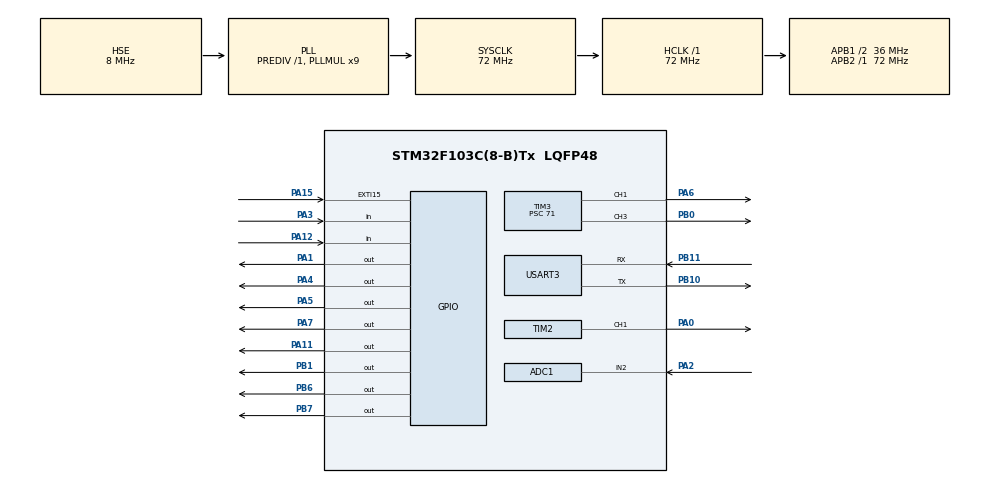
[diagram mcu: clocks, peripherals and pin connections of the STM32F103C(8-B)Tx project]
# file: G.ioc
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ADC1.Channel-2\#ChannelRegularConversion=ADC_CHANNEL_2
ADC1.DiscontinuousConvMode=DISABLE
ADC1.NbrOfConversion=1
ADC1.NbrOfConversionFlag=1
ADC1.Rank-2\#ChannelRegularConversion=1
ADC1.SamplingTime-2\#ChannelRegularConversion=ADC_SAMPLETIME_239CYCLES_5
ADC1.master=1
Mcu.Family=STM32F1
Mcu.Name=STM32F103C(8-B)Tx
Mcu.Package=LQFP48
NVIC.PriorityGroup=NVIC_PRIORITYGROUP_4
NVIC.USART3_IRQn=true\:0\:0\:false\:false\:true\:true\:true\:true
PA0-WKUP.Signal=S_TIM2_CH1_ETR
PA1.Signal=GPIO_Output
PA11.Signal=GPIO_Output
PA12.Signal=GPIO_Input
PA13.Mode=Serial_Wire
PA13.Signal=SYS_JTMS-SWDIO
PA14.Mode=Serial_Wire
PA14.Signal=SYS_JTCK-SWCLK
PA15.Signal=GPXTI15
PA2.Signal=ADCx_IN2
PA3.Signal=GPIO_Input
PA4.GPIO_PuPd=GPIO_PULLUP
PA4.GPIO_Speed=GPIO_SPEED_FREQ_HIGH
PA4.PinState=GPIO_PIN_SET
PA4.Signal=GPIO_Output
PA5.GPIO_PuPd=GPIO_PULLDOWN
PA5.GPIO_Speed=GPIO_SPEED_FREQ_HIGH
PA5.Signal=GPIO_Output
PA6.Signal=S_TIM3_CH1
PA7.GPIO_PuPd=GPIO_PULLUP
PA7.GPIO_Speed=GPIO_SPEED_FREQ_HIGH
PA7.PinState=GPIO_PIN_SET
PA7.Signal=GPIO_Output
PB0.Signal=S_TIM3_CH3
PB1.GPIO_PuPd=GPIO_PULLUP
PB1.PinState=GPIO_PIN_SET
PB1.Signal=GPIO_Output
PB10.Mode=Asynchronous
PB10.Signal=USART3_TX
PB11.Mode=Asynchronous
PB11.Signal=USART3_RX
PB6.Signal=GPIO_Output
PB7.Signal=GPIO_Output
PD0-OSC_IN.Mode=HSE-External-Oscillator
PD0-OSC_IN.Signal=RCC_OSC_IN
PD1-OSC_OUT.Mode=HSE-External-Oscillator
PD1-OSC_OUT.Signal=RCC_OSC_OUT
ProjectManager.HeapSize=0x200
ProjectManager.StackSize=0x400
ProjectManager.TargetToolchain=MDK-ARM V5.32
RCC.ADCPresc=RCC_ADCPCLK2_DIV6
RCC.AHBFreq_Value=72000000
RCC.APB1CLKDivider=RCC_HCLK_DIV2
RCC.APB1Freq_Value=36000000
RCC.APB1TimFreq_Value=72000000
RCC.APB2Freq_Value=72000000
RCC.APB2TimFreq_Value=72000000
RCC.HCLKFreq_Value=72000000
RCC.PLLMUL=RCC_PLL_MUL9
RCC.PLLSourceVirtual=RCC_PLLSOURCE_HSE
RCC.SYSCLKFreq_VALUE=72000000
RCC.SYSCLKSource=RCC_SYSCLKSOURCE_PLLCLK
RCC.USBFreq_Value=72000000
SH.ADCx_IN2.0=ADC1_IN2,IN2
SH.S_TIM2_CH1_ETR.0=TIM2_CH1,PWM Generation1 CH1
SH.S_TIM3_CH1.0=TIM3_CH1,PWM Generation1 CH1
SH.S_TIM3_CH3.0=TIM3_CH3,PWM Generation3 CH3
TIM2.AutoReloadPreload=TIM_AUTORELOAD_PRELOAD_ENABLE
TIM2.Channel-PWM\ Generation1\ CH1=TIM_CHANNEL_1
TIM2.Period=999
TIM2.Prescaler=71
TIM2.Pulse-PWM\ Generation1\ CH1=499
TIM3.AutoReloadPreload=TIM_AUTORELOAD_PRELOAD_ENABLE
TIM3.Channel-PWM\ Generation1\ CH1=TIM_CHANNEL_1
TIM3.Channel-PWM\ Generation3\ CH3=TIM_CHANNEL_3
TIM3.Period=19999
TIM3.Prescaler=71
TIM3.Pulse-PWM\ Generation1\ CH1=440
TIM3.Pulse-PWM\ Generation3\ CH3=9999
USART3.VirtualMode=VM_ASYNC
VP_TIM2_VS_ClockSourceINT.Mode=Internal
VP_TIM3_VS_ClockSourceINT.Mode=Internal
board=custom

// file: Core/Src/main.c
/* USER CODE BEGIN Header */
/**
  ******************************************************************************
  * @file           : main.c
  * @brief          : Main program body
  ******************************************************************************
  * @attention
  *
  * Copyright (c) 2025 STMicroelectronics.
  * All rights reserved.
  *
  * This software is licensed under terms that can be found in the LICENSE file
  * in the root directory of this software component.
  * If no LICENSE file comes with this software, it is provided AS-IS.
  *
  ******************************************************************************
  */
/* USER CODE END Header */
#include "main.h"
#include "adc.h"
#include "tim.h"
#include "usart.h"
#include "gpio.h"

/* USER CODE BEGIN Includes */
#include "stdio.h"
#include "string.h"
#include "dht11.h"
#include "esp-01s.h"
#include "oled.h"
#include "sg90.h"
/* USER CODE END Includes */

/* USER CODE BEGIN PM */
int temp_last = 0;
uint8_t oled[100] = {0};
uint8_t data[100] = {0};
uint8_t page = 0;
uint8_t key = 0;
uint8_t key1 = 0;
uint8_t key2 = 0;
extern unsigned int rec_data[4];
extern uint8_t yanwu;
//烟雾报警参数
uint8_t yanwu_max = 50;
//温度报警参数
uint8_t temp_max = 30;
//警报标志位
uint8_t f_flag = 0;//火灾
uint8_t w_flag = 0;//温度
uint8_t y_flag = 0;//烟雾
/* USER CODE END PM */

void SystemClock_Config(void);
/* USER CODE BEGIN PFP */
void OLED_Poce(void);
void DATA_Poce(void);
void KEY_Poce(void);
/* USER CODE END PFP */

/* USER CODE BEGIN 0 */
void OLED_Poce(void)
{
	switch(page)
	{
		case 0://主界面
		{
			//标题
			OLED_ShowChinese(32,0,0,16,1);
			OLED_ShowChinese(48,0,1,16,1);
			OLED_ShowChinese(64,0,2,16,1);
			OLED_ShowChinese(80,0,3,16,1);
			//温度
			OLED_ShowChinese(16,16,6,16,1);
			OLED_ShowChinese(32,16,7,16,1);
			OLED_ShowChar(48,16,':',16,1);
			OLED_ShowNum(56,16,rec_data[2],2,16,1);
			OLED_ShowChar(72,16,'.',16,1);
			OLED_ShowNum(80,16,rec_data[3],2,16,1);
			//湿度
			OLED_ShowChinese(16,32,24,16,1);
			OLED_ShowChinese(32,32,7,16,1);
			OLED_ShowChar(48,32,':',16,1);
			OLED_ShowNum(56,32,rec_data[0],2,16,1);
			OLED_ShowChar(72,32,'.',16,1);
			OLED_ShowNum(80,32,rec_data[1],2,16,1);
			//烟雾
			OLED_ShowChinese(16,48,8,16,1);
			OLED_ShowChinese(32,48,9,16,1);
			OLED_ShowChar(48,48,':',16,1);
			sprintf((char *)oled,"%d %%",yanwu);
			OLED_ShowString(56,48,oled,16,1);

			break;
		}
		case 1://参数
		{
			//温度
			OLED_ShowChinese(16,16,6,16,1);
			OLED_ShowChinese(32,16,7,16,1);
			OLED_ShowChar(48,16,':',16,1);
			OLED_ShowNum(56,16,temp_max,2,16,1);
			break;
		}
		case 2://参数
		{
			//烟雾
			OLED_ShowChinese(16,16,8,16,1);
			OLED_ShowChinese(32,16,9,16,1);
			OLED_ShowChar(48,16,':',16,1);
			OLED_ShowNum(56,16,yanwu_max,2,16,1);
			break;
		}
		case 3://火灾警告
		{
			OLED_ShowPicture(48,24,32,16,1);
		}
	}
}

void DATA_Poce(void)
{
	Esp_Data_Pro();
	if(page == 0 || page == 3)
	{
		DHT11_REC_Data();
		adc_read();
		if(HAL_GPIO_ReadPin(GPIOA,GPIO_PIN_3) == GPIO_PIN_RESET && f_flag == 0)//着火
		{
			f_flag = 1;
			OLED_Clear();
			page = 3;
			HAL_TIM_PWM_Start(&htim3,TIM_CHANNEL_3);//蜂鸣器启动
			HAL_GPIO_WritePin(GPIOA,GPIO_PIN_1,GPIO_PIN_RESET);//抽水继电器启动
			sprintf((char *)data,"ZHAO_HUO\r\n");
			ESP8266_SendData(data,strlen((const char *)data));
		}
		else if(HAL_GPIO_ReadPin(GPIOA,GPIO_PIN_3) == GPIO_PIN_SET && f_flag == 1)
		{
			OLED_Clear();
			HAL_TIM_PWM_Stop(&htim3,TIM_CHANNEL_3);
			f_flag = 0;
			page = 0;
			HAL_GPIO_WritePin(GPIOA,GPIO_PIN_1,GPIO_PIN_SET);
		}

		if(rec_data[2] > temp_max && w_flag == 0 && rec_data[2] - temp_last < 10)//高温启动舵机开窗
		{
			w_flag = 1;
			Servo_SetAngle(90);
			sprintf((char *)data,"GAO_WEM\r\n");
			ESP8266_SendData(data,strlen((const char *)data));
		}
		else if(rec_data[2] < temp_max && w_flag == 1)
		{
			w_flag = 0;
			Servo_SetAngle(0);
		}
		if(yanwu > yanwu_max && y_flag == 0)//烟雾启动电机抽风
		{
			y_flag = 1;
			HAL_TIM_PWM_Start(&htim2,TIM_CHANNEL_1);
			sprintf((char *)data,"YAN_WU\r\n");
			ESP8266_SendData(data,strlen((const char *)data));
		}
		else if(yanwu < yanwu_max && y_flag == 1)
		{
			y_flag = 0;
			HAL_TIM_PWM_Stop(&htim2,TIM_CHANNEL_1);
		}
		temp_last = rec_data[2];
	}
}

void KEY_Poce(void)
{
		key1 = key_val(); // 读取当前按键状态
    // 边沿检测：检测按键从按下到抬起的下降沿
    if ((key == 1 || key == 2) && (key1 == 0)) {
        // 上次是按下的，现在抬起了，说明完成了一次完整的按键动作
        key2 = key; // 保存抬起时对应的按键值
    } else {
        // 其他情况，无有效按键动作
        key2 = 0;
    }

    // 更新上一次的按键状态
    key = key1;

	switch(key2)
	{
		case 1:
		{
			page++;
			OLED_Clear();
			if(page > 2)
				page = 0;
			break;
		}
		case 2:
		{
			switch(page)
			{
				case 1:
				{
					temp_max+=10;
					if(temp_max > 100)
						temp_max = 0;
					break;
				}
				case 2:
				{
					yanwu_max+=10;
					if(yanwu_max > 100)
						yanwu_max = 0;
					break;
				}
			}
			break;
		}
	}
}
/* USER CODE END 0 */

int main(void)
{

  /* MCU Configuration--------------------------------------------------------*/

  /* Reset of all peripherals, Initializes the Flash interface and the Systick. */
  HAL_Init();

  /* Configure the system clock */
  SystemClock_Config();

  /* Initialize all configured peripherals */
  MX_GPIO_Init();
  MX_USART3_UART_Init();
  MX_ADC1_Init();
  MX_TIM2_Init();
  MX_TIM3_Init();
  /* USER CODE BEGIN 2 */
	HAL_TIM_PWM_Stop(&htim2,TIM_CHANNEL_1);
	HAL_TIM_PWM_Start(&htim3,TIM_CHANNEL_1);
	DWT_Init();
	OLED_Init();
	OLED_Clear();
	ESP8266_Init();
	OLED_Clear();
	HAL_GPIO_WritePin(GPIOA,GPIO_PIN_1,GPIO_PIN_SET);
	Servo_SetAngle(0);
  /* USER CODE END 2 */

  /* Infinite loop */
  while (1)
  {
		KEY_Poce();
		DATA_Poce();
		OLED_Poce();
  }
}

void SystemClock_Config(void)
{
  RCC_OscInitTypeDef RCC_OscInitStruct = {0};
  RCC_ClkInitTypeDef RCC_ClkInitStruct = {0};
  RCC_PeriphCLKInitTypeDef PeriphClkInit = {0};

  /** Initializes the RCC Oscillators according to the specified parameters
  * in the RCC_OscInitTypeDef structure.
  */
  RCC_OscInitStruct.OscillatorType = RCC_OSCILLATORTYPE_HSE;
  RCC_OscInitStruct.HSEState = RCC_HSE_ON;
  RCC_OscInitStruct.HSEPredivValue = RCC_HSE_PREDIV_DIV1;
  RCC_OscInitStruct.HSIState = RCC_HSI_ON;
  RCC_OscInitStruct.PLL.PLLState = RCC_PLL_ON;
  RCC_OscInitStruct.PLL.PLLSource = RCC_PLLSOURCE_HSE;
  RCC_OscInitStruct.PLL.PLLMUL = RCC_PLL_MUL9;
  if (HAL_RCC_OscConfig(&RCC_OscInitStruct) != HAL_OK)
  {
    Error_Handler();
  }

  /** Initializes the CPU, AHB and APB buses clocks
  */
  RCC_ClkInitStruct.ClockType = RCC_CLOCKTYPE_HCLK|RCC_CLOCKTYPE_SYSCLK
                              |RCC_CLOCKTYPE_PCLK1|RCC_CLOCKTYPE_PCLK2;
  RCC_ClkInitStruct.SYSCLKSource = RCC_SYSCLKSOURCE_PLLCLK;
  RCC_ClkInitStruct.AHBCLKDivider = RCC_SYSCLK_DIV1;
  RCC_ClkInitStruct.APB1CLKDivider = RCC_HCLK_DIV2;
  RCC_ClkInitStruct.APB2CLKDivider = RCC_HCLK_DIV1;

  if (HAL_RCC_ClockConfig(&RCC_ClkInitStruct, FLASH_LATENCY_2) != HAL_OK)
  {
    Error_Handler();
  }
  PeriphClkInit.PeriphClockSelection = RCC_PERIPHCLK_ADC;
  PeriphClkInit.AdcClockSelection = RCC_ADCPCLK2_DIV6;
  if (HAL_RCCEx_PeriphCLKConfig(&PeriphClkInit) != HAL_OK)
  {
    Error_Handler();
  }
}

void Error_Handler(void)
{
  __disable_irq();
  while (1)
  {
  }
}
